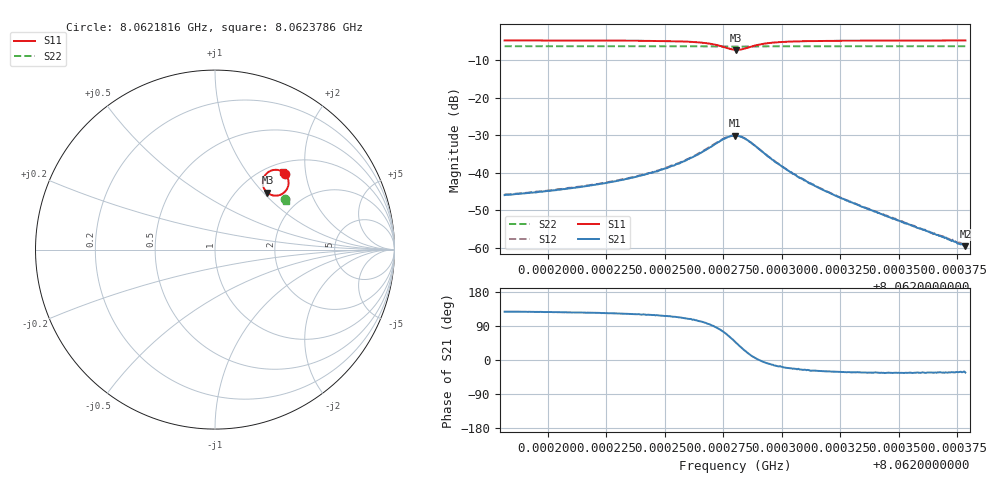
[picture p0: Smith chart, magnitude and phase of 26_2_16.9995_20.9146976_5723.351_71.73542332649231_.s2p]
#  HZ  S  RI  R  50.00
! Rohde & Schwarz Vector Network Analyzer
! Rohde-Schwarz,ZNB20-2Port,1311601062101988,3.16
! Created: UTC 3/20/2024, 10:53:11 PM
! freq[Hz]  re:S11  im:S11  re:S21  im:S21  re:S12  im:S12  re:S22  im:S22
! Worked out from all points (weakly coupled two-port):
!   401 points, 8.0621816 GHz to 8.0623786 GHz, reference 50 ohm
!   highest |S21| = -30.09 dB at 8.0622801 GHz (marker M1); lowest = -59.5 dB at 8.0623786 GHz (marker M2)
!   lowest |S11| = -7.3 dB at 8.0622806 GHz (marker M3), VSWR 2.51, Z = 67.7 + j52.6 ohm
!   |S11| at or under -10 dB: nowhere
!   |S22| runs from -6.4 to -6.3 dB; largest |S21 - S12| = 0.0025
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8.06218159e9  0.3902 0.4223  -0.00307 0.00401  -0.0029 0.00421  0.3922 0.2806
8.06219489e9  0.3925 0.4199  -0.00329 0.00438  -0.00311 0.00464  0.3928 0.28
8.06221459e9  0.3964 0.4149  -0.00376 0.00533  -0.00349 0.00561  0.3936 0.2787
8.06223379e9  0.4013 0.4067  -0.00438 0.00705  -0.004 0.00735  0.3944 0.2776
8.06224758e9  0.4065 0.3949  -0.00496 0.00949  -0.00442 0.00988  0.3949 0.2762
8.0622594e9  0.41 0.374  -0.00487 0.0139  -0.00412 0.0145  0.3949 0.2748
8.06226925e9  0.3997 0.3354  -0.00162 0.0217  -9.38e-05 0.0222  0.3943 0.2728
8.0622727e9  0.383 0.3162  0.00271 0.0252  0.00444 0.0253  0.3933 0.2722
8.06227615e9  0.3501 0.3014  0.00996 0.0272  0.0122 0.0267  0.3919 0.272
8.06227812e9  0.3244 0.3015  0.0156 0.0264  0.0177 0.0254  0.3909 0.2722
8.06228009e9  0.2981 0.3121  0.0207 0.0234  0.0226 0.0219  0.39 0.2731
8.06228058e9  0.2921 0.3166  0.022 0.0222  0.0236 0.0207  0.3897 0.2733
8.06228255e9  0.2739 0.3389  0.0251 0.017  0.0264 0.0149  0.3895 0.2744
8.06228452e9  0.2661 0.3643  0.026 0.0114  0.0267 0.00942  0.3897 0.2756
8.06228846e9  0.2744 0.4068  0.023 0.00256  0.0231 0.001  0.3909 0.2769
8.0622924e9  0.2936 0.4294  0.0183 -0.00176  0.0181 -0.00295  0.392 0.2773
8.06229683e9  0.3128 0.4402  0.0138 -0.00358  0.0138 -0.00435  0.3931 0.2773
8.06230373e9  0.3336 0.4446  0.0095 -0.00372  0.00935 -0.00439  0.3942 0.2768
8.06231308e9  0.3497 0.4438  0.00616 -0.00327  0.00606 -0.00364  0.3952 0.2761
8.06232786e9  0.3631 0.4401  0.0036 -0.00228  0.00352 -0.00253  0.396 0.2751
8.06234608e9  0.3716 0.4364  0.00214 -0.00142  0.00206 -0.00159  0.397 0.2739
8.06237858e9  0.3796 0.4316  0.000887 -0.000577  0.000878 -0.000614  0.3981 0.272
